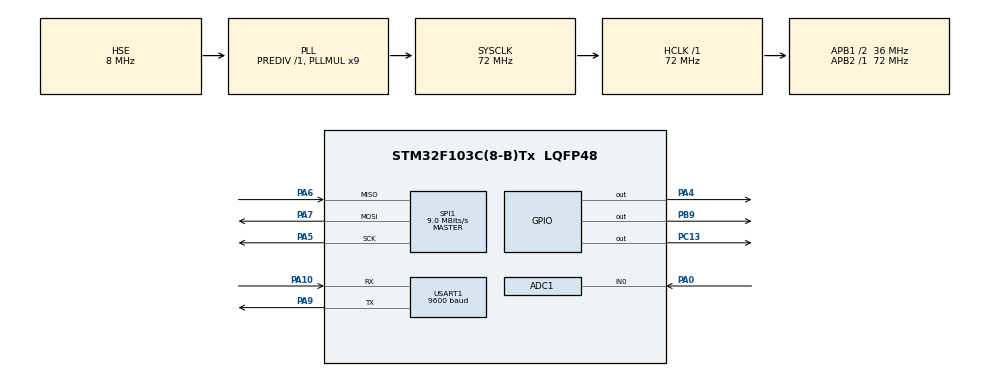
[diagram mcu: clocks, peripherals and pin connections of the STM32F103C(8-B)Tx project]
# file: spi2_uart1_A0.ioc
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Mcu.Family=STM32F1
RCC.PLLSourceVirtual=RCC_PLLSOURCE_HSE
PA6.Mode=Full_Duplex_Master
ADC1.Rank-0\#ChannelRegularConversion=1
PA7.Mode=Full_Duplex_Master
PD1-OSC_OUT.Mode=HSE-External-Oscillator
PA10.Mode=Asynchronous
SPI1.VirtualType=VM_MASTER
ADC1.ContinuousConvMode=ENABLE
USART1.BaudRate=9600
PC13-TAMPER-RTC.Signal=GPIO_Output
NVIC.TIM1_UP_IRQn=true\:2\:0\:true\:false\:true\:true\:true
PD0-OSC_IN.Signal=RCC_OSC_IN
RCC.APB1CLKDivider=RCC_HCLK_DIV2
RCC.SYSCLKSource=RCC_SYSCLKSOURCE_PLLCLK
ProjectManager.StackSize=0x400
PA0-WKUP.Signal=ADCx_IN0
PD1-OSC_OUT.Signal=RCC_OSC_OUT
RCC.ADCPresc=RCC_ADCPCLK2_DIV6
PA13.Signal=SYS_JTMS-SWDIO
PA9.Mode=Asynchronous
TIM1.Prescaler=7999
ProjectManager.TargetToolchain=STM32CubeIDE
SPI1.Direction=SPI_DIRECTION_2LINES
RCC.HCLKFreq_Value=72000000
RCC.APB2TimFreq_Value=72000000
PA9.Signal=USART1_TX
SPI1.CalculateBaudRate=9.0 MBits/s
RCC.USBFreq_Value=72000000
RCC.AHBFreq_Value=72000000
PD0-OSC_IN.Mode=HSE-External-Oscillator
PA5.Signal=SPI1_SCK
ADC1.Channel-0\#ChannelRegularConversion=ADC_CHANNEL_0
board=custom
RCC.PLLMUL=RCC_PLL_MUL9
RCC.APB2Freq_Value=72000000
SPI1.Mode=SPI_MODE_MASTER
PA14.Mode=Serial_Wire
SH.ADCx_IN0.0=ADC1_IN0,IN0
PA13.Mode=Serial_Wire
Mcu.Name=STM32F103C(8-B)Tx
VP_TIM1_VS_ClockSourceINT.Mode=Internal
ADC1.SamplingTime-0\#ChannelRegularConversion=ADC_SAMPLETIME_239CYCLES_5
PA4.Signal=GPIO_Output
RCC.SYSCLKFreq_VALUE=72000000
Mcu.Package=LQFP48
PB9.Signal=GPIO_Output
PA6.Signal=SPI1_MISO
ADC1.master=1
USART1.VirtualMode=VM_ASYNC
PA10.Signal=USART1_RX
PA14.Signal=SYS_JTCK-SWCLK
ProjectManager.HeapSize=0x200
NVIC.PriorityGroup=NVIC_PRIORITYGROUP_4
ADC1.NbrOfConversionFlag=1
RCC.APB1TimFreq_Value=72000000
TIM1.Period=999
NVIC.USART1_IRQn=true\:1\:0\:true\:false\:true\:true\:true
RCC.APB1Freq_Value=36000000
SPI1.BaudRatePrescaler=SPI_BAUDRATEPRESCALER_8
PA5.Mode=Full_Duplex_Master
PA7.Signal=SPI1_MOSI

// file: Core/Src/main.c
/* USER CODE BEGIN Header */
/**
  ******************************************************************************
  * @file           : main.c
  * @brief          : Main program body
  ******************************************************************************
  * @attention
  *
  * <h2><center>&copy; Copyright (c) 2022 STMicroelectronics.
  * All rights reserved.</center></h2>
  *
  * This software component is licensed by ST under BSD 3-Clause license,
  * the "License"; You may not use this file except in compliance with the
  * License. You may obtain a copy of the License at:
  *                        opensource.org/licenses/BSD-3-Clause
  *
  ******************************************************************************
  */
/* USER CODE END Header */
#include "main.h"

/* USER CODE BEGIN Includes */
#include "rc522.h"
#include "string.h"
#include "DHT.h"
#include "stdio.h"

/* USER CODE END Includes */

ADC_HandleTypeDef hadc1;

SPI_HandleTypeDef hspi1;

TIM_HandleTypeDef htim1;

UART_HandleTypeDef huart1;

void SystemClock_Config(void);
static void MX_GPIO_Init(void);
static void MX_ADC1_Init(void);
static void MX_SPI1_Init(void);
static void MX_USART1_UART_Init(void);
static void MX_TIM1_Init(void);
/* USER CODE BEGIN PFP */
uint8_t status;
uint8_t str[MFRC522_MAX_LEN];
uint8_t serNum[5];

DHT_DataTypedef DHT11_Data;
float Temperature, Humidity;
uint16_t adc;

char sendo[20];
char rec,null;
char buffer[20];
uint8_t i=0;

/* USER CODE END PFP */

/* USER CODE BEGIN 0 */
void HAL_UART_RxCpltCallback(UART_HandleTypeDef *huart)
{
	if(huart->Instance == huart1.Instance)
		{
		if(rec!=13)
		{
			buffer[i++] = rec;
		}

		else if(rec == 13)
		{
			i = 0;
			for(int cnt = 0; cnt < sizeof(buffer);cnt++)
			{
				buffer[cnt]= null;
			}

		}
		HAL_UART_Receive_IT(&huart1,(uint8_t*)&rec,1);

	}
}
void HAL_TIM_PeriodElapsedCallback(TIM_HandleTypeDef *htim)
{
  if(htim->Instance == htim1.Instance){
	  status = MFRC522_Request(PICC_REQIDL, str);	// Find cards, return card type
	  	  		if (status == MI_OK) status = MFRC522_Anticoll(str);
	  	  			memcpy(serNum, str, 5);
	  	  		if (status == MI_OK)
	  	  		{
	  	  			if (serNum[1] == 14 && serNum[2] == 70 && serNum[3] == 24 && serNum[4] == 211)
	  	  			{
	  	  				HAL_GPIO_WritePin(GPIOC, GPIO_PIN_13, 0);
	  	  			}
	  	  			else HAL_GPIO_WritePin(GPIOC, GPIO_PIN_13, 1);
	  	  		}
	  adc = HAL_ADC_GetValue(&hadc1);
  }
}

/* USER CODE END 0 */

int main(void)
{

  /* MCU Configuration--------------------------------------------------------*/

  /* Reset of all peripherals, Initializes the Flash interface and the Systick. */
  HAL_Init();

  /* Configure the system clock */
  SystemClock_Config();

  /* Initialize all configured peripherals */
  MX_GPIO_Init();
  MX_ADC1_Init();
  MX_SPI1_Init();
  MX_USART1_UART_Init();
  MX_TIM1_Init();
  /* USER CODE BEGIN 2 */
  MFRC522_Init();
  HAL_UART_Receive_IT(&huart1,(uint8_t*)&rec,1);
  HAL_ADC_Start(&hadc1);
  HAL_TIM_Base_Start_IT(&htim1);
  /* USER CODE END 2 */

  /* Infinite loop */
  /* USER CODE BEGIN WHILE */
  while (1)
  {
	  	  	DHT_GetData(&DHT11_Data);
	  		Temperature = DHT11_Data.Temperature;
	  		Humidity = DHT11_Data.Humidity;
	  		sprintf(sendo,"NHIETDO%0.2f",Temperature);
	  		HAL_Delay(500);
	  		HAL_UART_Transmit(&huart1,(uint8_t *) sendo,sizeof(sendo),1000);
	  		HAL_Delay(3000);

    /* USER CODE END WHILE */

  }
}

void SystemClock_Config(void)
{
  RCC_OscInitTypeDef RCC_OscInitStruct = {0};
  RCC_ClkInitTypeDef RCC_ClkInitStruct = {0};
  RCC_PeriphCLKInitTypeDef PeriphClkInit = {0};

  /** Initializes the RCC Oscillators according to the specified parameters
  * in the RCC_OscInitTypeDef structure.
  */
  RCC_OscInitStruct.OscillatorType = RCC_OSCILLATORTYPE_HSE;
  RCC_OscInitStruct.HSEState = RCC_HSE_ON;
  RCC_OscInitStruct.HSEPredivValue = RCC_HSE_PREDIV_DIV1;
  RCC_OscInitStruct.HSIState = RCC_HSI_ON;
  RCC_OscInitStruct.PLL.PLLState = RCC_PLL_ON;
  RCC_OscInitStruct.PLL.PLLSource = RCC_PLLSOURCE_HSE;
  RCC_OscInitStruct.PLL.PLLMUL = RCC_PLL_MUL9;
  if (HAL_RCC_OscConfig(&RCC_OscInitStruct) != HAL_OK)
  {
    Error_Handler();
  }
  /** Initializes the CPU, AHB and APB buses clocks
  */
  RCC_ClkInitStruct.ClockType = RCC_CLOCKTYPE_HCLK|RCC_CLOCKTYPE_SYSCLK
                              |RCC_CLOCKTYPE_PCLK1|RCC_CLOCKTYPE_PCLK2;
  RCC_ClkInitStruct.SYSCLKSource = RCC_SYSCLKSOURCE_PLLCLK;
  RCC_ClkInitStruct.AHBCLKDivider = RCC_SYSCLK_DIV1;
  RCC_ClkInitStruct.APB1CLKDivider = RCC_HCLK_DIV2;
  RCC_ClkInitStruct.APB2CLKDivider = RCC_HCLK_DIV1;

  if (HAL_RCC_ClockConfig(&RCC_ClkInitStruct, FLASH_LATENCY_2) != HAL_OK)
  {
    Error_Handler();
  }
  PeriphClkInit.PeriphClockSelection = RCC_PERIPHCLK_ADC;
  PeriphClkInit.AdcClockSelection = RCC_ADCPCLK2_DIV6;
  if (HAL_RCCEx_PeriphCLKConfig(&PeriphClkInit) != HAL_OK)
  {
    Error_Handler();
  }
}

static void MX_ADC1_Init(void)
{

  ADC_ChannelConfTypeDef sConfig = {0};

  /** Common config
  */
  hadc1.Instance = ADC1;
  hadc1.Init.ScanConvMode = ADC_SCAN_DISABLE;
  hadc1.Init.ContinuousConvMode = ENABLE;
  hadc1.Init.DiscontinuousConvMode = DISABLE;
  hadc1.Init.ExternalTrigConv = ADC_SOFTWARE_START;
  hadc1.Init.DataAlign = ADC_DATAALIGN_RIGHT;
  hadc1.Init.NbrOfConversion = 1;
  if (HAL_ADC_Init(&hadc1) != HAL_OK)
  {
    Error_Handler();
  }
  /** Configure Regular Channel
  */
  sConfig.Channel = ADC_CHANNEL_0;
  sConfig.Rank = ADC_REGULAR_RANK_1;
  sConfig.SamplingTime = ADC_SAMPLETIME_239CYCLES_5;
  if (HAL_ADC_ConfigChannel(&hadc1, &sConfig) != HAL_OK)
  {
    Error_Handler();
  }

}

static void MX_SPI1_Init(void)
{

  /* SPI1 parameter configuration*/
  hspi1.Instance = SPI1;
  hspi1.Init.Mode = SPI_MODE_MASTER;
  hspi1.Init.Direction = SPI_DIRECTION_2LINES;
  hspi1.Init.DataSize = SPI_DATASIZE_8BIT;
  hspi1.Init.CLKPolarity = SPI_POLARITY_LOW;
  hspi1.Init.CLKPhase = SPI_PHASE_1EDGE;
  hspi1.Init.NSS = SPI_NSS_SOFT;
  hspi1.Init.BaudRatePrescaler = SPI_BAUDRATEPRESCALER_8;
  hspi1.Init.FirstBit = SPI_FIRSTBIT_MSB;
  hspi1.Init.TIMode = SPI_TIMODE_DISABLE;
  hspi1.Init.CRCCalculation = SPI_CRCCALCULATION_DISABLE;
  hspi1.Init.CRCPolynomial = 10;
  if (HAL_SPI_Init(&hspi1) != HAL_OK)
  {
    Error_Handler();
  }

}

static void MX_TIM1_Init(void)
{

  TIM_ClockConfigTypeDef sClockSourceConfig = {0};
  TIM_MasterConfigTypeDef sMasterConfig = {0};

  htim1.Instance = TIM1;
  htim1.Init.Prescaler = 71999;
  htim1.Init.CounterMode = TIM_COUNTERMODE_UP;
  htim1.Init.Period = 1999;
  htim1.Init.ClockDivision = TIM_CLOCKDIVISION_DIV1;
  htim1.Init.RepetitionCounter = 0;
  htim1.Init.AutoReloadPreload = TIM_AUTORELOAD_PRELOAD_DISABLE;
  if (HAL_TIM_Base_Init(&htim1) != HAL_OK)
  {
    Error_Handler();
  }
  sClockSourceConfig.ClockSource = TIM_CLOCKSOURCE_INTERNAL;
  if (HAL_TIM_ConfigClockSource(&htim1, &sClockSourceConfig) != HAL_OK)
  {
    Error_Handler();
  }
  sMasterConfig.MasterOutputTrigger = TIM_TRGO_RESET;
  sMasterConfig.MasterSlaveMode = TIM_MASTERSLAVEMODE_DISABLE;
  if (HAL_TIMEx_MasterConfigSynchronization(&htim1, &sMasterConfig) != HAL_OK)
  {
    Error_Handler();
  }

}

static void MX_USART1_UART_Init(void)
{

  huart1.Instance = USART1;
  huart1.Init.BaudRate = 9600;
  huart1.Init.WordLength = UART_WORDLENGTH_8B;
  huart1.Init.StopBits = UART_STOPBITS_1;
  huart1.Init.Parity = UART_PARITY_NONE;
  huart1.Init.Mode = UART_MODE_TX_RX;
  huart1.Init.HwFlowCtl = UART_HWCONTROL_NONE;
  huart1.Init.OverSampling = UART_OVERSAMPLING_16;
  if (HAL_UART_Init(&huart1) != HAL_OK)
  {
    Error_Handler();
  }

}

static void MX_GPIO_Init(void)
{
  GPIO_InitTypeDef GPIO_InitStruct = {0};

  /* GPIO Ports Clock Enable */
  __HAL_RCC_GPIOC_CLK_ENABLE();
  __HAL_RCC_GPIOD_CLK_ENABLE();
  __HAL_RCC_GPIOA_CLK_ENABLE();
  __HAL_RCC_GPIOB_CLK_ENABLE();

  /*Configure GPIO pin Output Level */
  HAL_GPIO_WritePin(GPIOC, GPIO_PIN_13, GPIO_PIN_RESET);

  /*Configure GPIO pin Output Level */
  HAL_GPIO_WritePin(GPIOA, GPIO_PIN_4, GPIO_PIN_RESET);

  /*Configure GPIO pin Output Level */
  HAL_GPIO_WritePin(GPIOB, GPIO_PIN_9, GPIO_PIN_RESET);

  /*Configure GPIO pin : PC13 */
  GPIO_InitStruct.Pin = GPIO_PIN_13;
  GPIO_InitStruct.Mode = GPIO_MODE_OUTPUT_PP;
  GPIO_InitStruct.Pull = GPIO_NOPULL;
  GPIO_InitStruct.Speed = GPIO_SPEED_FREQ_LOW;
  HAL_GPIO_Init(GPIOC, &GPIO_InitStruct);

  /*Configure GPIO pin : PA4 */
  GPIO_InitStruct.Pin = GPIO_PIN_4;
  GPIO_InitStruct.Mode = GPIO_MODE_OUTPUT_PP;
  GPIO_InitStruct.Pull = GPIO_NOPULL;
  GPIO_InitStruct.Speed = GPIO_SPEED_FREQ_LOW;
  HAL_GPIO_Init(GPIOA, &GPIO_InitStruct);

  /*Configure GPIO pin : PB9 */
  GPIO_InitStruct.Pin = GPIO_PIN_9;
  GPIO_InitStruct.Mode = GPIO_MODE_OUTPUT_PP;
  GPIO_InitStruct.Pull = GPIO_NOPULL;
  GPIO_InitStruct.Speed = GPIO_SPEED_FREQ_LOW;
  HAL_GPIO_Init(GPIOB, &GPIO_InitStruct);

}

void Error_Handler(void)
{
  __disable_irq();
  while (1)
  {
  }
}

/************************ (C) COPYRIGHT STMicroelectronics *****END OF FILE****/
